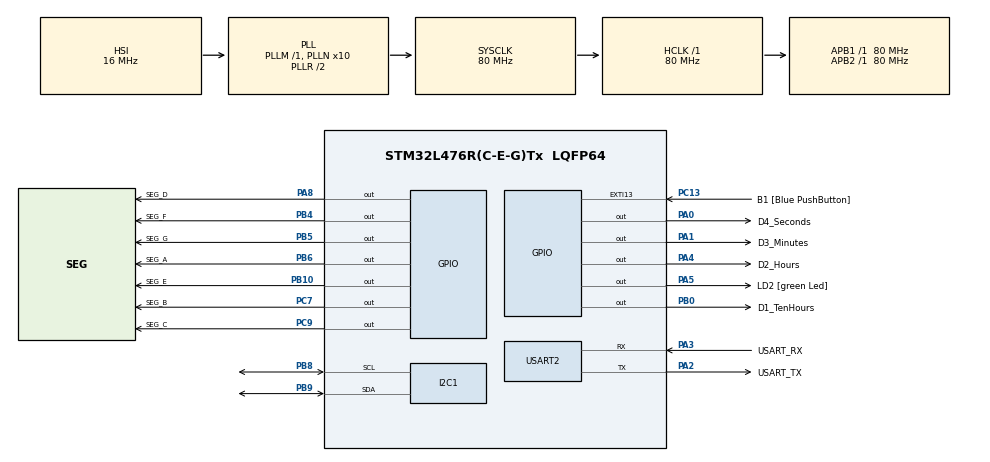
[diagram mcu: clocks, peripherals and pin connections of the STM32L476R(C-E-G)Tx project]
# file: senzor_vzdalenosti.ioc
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I2C1.AddressingMode=I2C_ADDRESSINGMODE_7BIT
I2C1.OwnAddress=0x42
I2C1.Timing=0x10909CEC
Mcu.Family=STM32L4
Mcu.Name=STM32L476R(C-E-G)Tx
Mcu.Package=LQFP64
NVIC.PriorityGroup=NVIC_PRIORITYGROUP_4
PA0.GPIO_Label=D4_Seconds
PA0.Signal=GPIO_Output
PA1.GPIO_Label=D3_Minutes
PA1.Signal=GPIO_Output
PA13\ (JTMS-SWDIO).GPIO_Label=TMS
PA13\ (JTMS-SWDIO).Mode=Serial_Wire
PA13\ (JTMS-SWDIO).Signal=SYS_JTMS-SWDIO
PA14\ (JTCK-SWCLK).GPIO_Label=TCK
PA14\ (JTCK-SWCLK).Mode=Serial_Wire
PA14\ (JTCK-SWCLK).Signal=SYS_JTCK-SWCLK
PA2.GPIO_Label=USART_TX
PA2.GPIO_Mode=GPIO_MODE_AF_PP
PA2.GPIO_PuPd=GPIO_NOPULL
PA2.GPIO_Speed=GPIO_SPEED_FREQ_VERY_HIGH
PA2.Mode=Asynchronous
PA2.Signal=USART2_TX
PA3.GPIO_Label=USART_RX
PA3.GPIO_Mode=GPIO_MODE_AF_PP
PA3.GPIO_PuPd=GPIO_NOPULL
PA3.GPIO_Speed=GPIO_SPEED_FREQ_VERY_HIGH
PA3.Mode=Asynchronous
PA3.Signal=USART2_RX
PA4.GPIO_Label=D2_Hours
PA4.Signal=GPIO_Output
PA5.GPIO_Label=LD2 [green Led]
PA5.GPIO_ModeDefaultOutputPP=GPIO_MODE_OUTPUT_PP
PA5.GPIO_PuPd=GPIO_NOPULL
PA5.GPIO_Speed=GPIO_SPEED_FREQ_LOW
PA5.Signal=GPIO_Output
PA8.GPIO_Label=SEG_D
PA8.Signal=GPIO_Output
PB0.GPIO_Label=D1_TenHours
PB0.Signal=GPIO_Output
PB10.GPIO_Label=SEG_E
PB10.Signal=GPIO_Output
PB3\ (JTDO-TRACESWO).GPIO_Label=SWO
PB3\ (JTDO-TRACESWO).Signal=SYS_JTDO-SWO
PB4\ (NJTRST).GPIO_Label=SEG_F
PB4\ (NJTRST).Signal=GPIO_Output
PB5.GPIO_Label=SEG_G
PB5.Signal=GPIO_Output
PB6.GPIO_Label=SEG_A
PB6.Signal=GPIO_Output
PB8.Mode=I2C
PB8.Signal=I2C1_SCL
PB9.Mode=I2C
PB9.Signal=I2C1_SDA
PC13.GPIO_Label=B1 [Blue PushButton]
PC13.GPIO_ModeDefaultEXTI=GPIO_MODE_IT_FALLING
PC13.GPIO_PuPd=GPIO_NOPULL
PC13.Signal=GPXTI13
PC14-OSC32_IN\ (PC14).Mode=LSE-External-Oscillator
PC14-OSC32_IN\ (PC14).Signal=RCC_OSC32_IN
PC15-OSC32_OUT\ (PC15).Mode=LSE-External-Oscillator
PC15-OSC32_OUT\ (PC15).Signal=RCC_OSC32_OUT
PC7.GPIO_Label=SEG_B
PC7.Signal=GPIO_Output
PC9.GPIO_Label=SEG_C
PC9.Signal=GPIO_Output
PH0-OSC_IN\ (PH0).Signal=RCC_OSC_IN
PH1-OSC_OUT\ (PH1).Signal=RCC_OSC_OUT
ProjectManager.HeapSize=0x200
ProjectManager.StackSize=0x400
ProjectManager.TargetToolchain=STM32CubeIDE
RCC.ADCFreq_Value=64000000
RCC.AHBFreq_Value=80000000
RCC.APB1Freq_Value=80000000
RCC.APB1TimFreq_Value=80000000
RCC.APB2Freq_Value=80000000
RCC.APB2TimFreq_Value=80000000
RCC.CortexFreq_Value=80000000
RCC.HCLKFreq_Value=80000000
RCC.HSE_VALUE=8000000
RCC.HSI_VALUE=16000000
RCC.MSI_VALUE=4000000
RCC.PLLN=10
RCC.PLLSourceVirtual=RCC_PLLSOURCE_HSI
RCC.PREFETCH_ENABLE=1
RCC.SYSCLKFreq_VALUE=80000000
RCC.SYSCLKSource=RCC_SYSCLKSOURCE_PLLCLK
RCC.USBFreq_Value=64000000
RCC.VCOOutputFreq_Value=160000000
USART2.VirtualMode-Asynchronous=VM_ASYNC
board=NUCLEO-L476RG

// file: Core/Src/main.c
/* USER CODE BEGIN Header */
/**
  ******************************************************************************
  * @file           : main.c
  * @brief          : Main program body
  ******************************************************************************
  * @attention
  *
  * Copyright (c) 2022 STMicroelectronics.
  * All rights reserved.
  *
  * This software is licensed under terms that can be found in the LICENSE file
  * in the root directory of this software component.
  * If no LICENSE file comes with this software, it is provided AS-IS.
  *
  ******************************************************************************
  */
/* USER CODE END Header */
#include "main.h"

/* USER CODE BEGIN Includes */
#include "vl6180x_api.h"

/* USER CODE END Includes */

I2C_HandleTypeDef hi2c1;

UART_HandleTypeDef huart2;

/* USER CODE BEGIN PV */
uint8_t EXPANDER_ADRESS = 0x42 << 1;

/* USER CODE END PV */

void SystemClock_Config(void);
static void MX_GPIO_Init(void);
static void MX_USART2_UART_Init(void);
static void MX_I2C1_Init(void);

int main(void)
{

  /* MCU Configuration--------------------------------------------------------*/

  /* Reset of all peripherals, Initializes the Flash interface and the Systick. */
  HAL_Init();

  /* Configure the system clock */
  SystemClock_Config();

  /* Initialize all configured peripherals */
  MX_GPIO_Init();
  MX_USART2_UART_Init();
  MX_I2C1_Init();
  /* USER CODE BEGIN 2 */

  if(HAL_I2C_IsDeviceReady(&hi2c1, EXPANDER_ADRESS, 2, 10) == HAL_OK){
  		HAL_GPIO_WritePin(LD2_GPIO_Port, LD2_Pin, 1);
	  }

 void expander_init(){
	 uint8_t buff[3];
	 buff[0] = 0x14;
	 buff[1] = 0xff;
	 buff[2] = 0xff;

	 HAL_I2C_Master_Transmit(&hi2c1, EXPANDER_ADRESS, buff, 3, 1000);
	 HAL_Delay(100);
 }

 uint8_t numbers[10] = {
		 0x3f, //0
		 0x06,//1
		 0x5B,//2
		 0x4F,//3
		 0x66,//4
		 0x6D,//5
		 0x7D,//6
		 0x07,//7
		 0x7F,//8
		 0x6F,//9
 };

 uint8_t digits[5] = {
		 0x0,
		 0x1,
		 0x2,
		 0x4,
		 0x8
 };
 void expander_WR_counting(uint8_t *numbers, uint8_t *digits){
	 uint8_t buff[3];
	 int digit = 3;
	 while(digit >=1){
	 for (int i = 0; i<=9;i++){

	 	 buff[0] = 0x12;
	 	 buff[1] = (0b0 | ~numbers[i]);
	 	 buff[2] = 0b0 | (~digits[digit]);
	 	 if (i == 9){digit--;}
	 	 HAL_Delay(1000);

	 HAL_I2C_Master_Transmit(&hi2c1, EXPANDER_ADRESS, buff, 3, 5);

	 }}

 }

 void expander_WR_LOW(uint8_t *numbers, uint8_t *digits){
	 uint8_t buff[3];
	   	 int digit = 3;
	   	 	 buff[0] = 0x12;
	   	 	 buff[1] = (0b0 | 0b0);
	   	 	 buff[2] = ~(0b0 | 0b0);

 	 HAL_I2C_Master_Transmit(&hi2c1, EXPANDER_ADRESS, buff, 3, 5);

  }
 void expander_WR(uint8_t *numbers, uint8_t *digits,int number, int dig){
  	 uint8_t buff[3];
  	 int digit = 3;
  	 	 buff[0] = 0x12;
  	 	 buff[1] = (0b0 | ~numbers[number]);
  	 	 buff[2] = 0b0 | (~digits[dig]);

  	 HAL_I2C_Master_Transmit(&hi2c1, EXPANDER_ADRESS, buff, 3, 1);

   }

expander_init();
expander_WR_counting(&numbers, &digits);

  /* USER CODE END 2 */

  /* Infinite loop */
  /* USER CODE BEGIN WHILE */
int digit = 3;
  while (1)
  {

	  	  expander_WR(&numbers, &digits, 1, 1);
		  expander_WR_LOW(&numbers, &digits);

		  expander_WR(&numbers, &digits, 2, 2);
		  expander_WR_LOW(&numbers, &digits);

		  expander_WR(&numbers, &digits, 3, 3);
		  expander_WR_LOW(&numbers, &digits);

	  //HAL_Delay(500);
	  //HAL_GPIO_TogglePin(LD2_GPIO_Port, LD2_Pin);
    /* USER CODE END WHILE */

  }
}

void SystemClock_Config(void)
{
  RCC_OscInitTypeDef RCC_OscInitStruct = {0};
  RCC_ClkInitTypeDef RCC_ClkInitStruct = {0};

  /** Configure the main internal regulator output voltage
  */
  if (HAL_PWREx_ControlVoltageScaling(PWR_REGULATOR_VOLTAGE_SCALE1) != HAL_OK)
  {
    Error_Handler();
  }

  /** Initializes the RCC Oscillators according to the specified parameters
  * in the RCC_OscInitTypeDef structure.
  */
  RCC_OscInitStruct.OscillatorType = RCC_OSCILLATORTYPE_HSI;
  RCC_OscInitStruct.HSIState = RCC_HSI_ON;
  RCC_OscInitStruct.HSICalibrationValue = RCC_HSICALIBRATION_DEFAULT;
  RCC_OscInitStruct.PLL.PLLState = RCC_PLL_ON;
  RCC_OscInitStruct.PLL.PLLSource = RCC_PLLSOURCE_HSI;
  RCC_OscInitStruct.PLL.PLLM = 1;
  RCC_OscInitStruct.PLL.PLLN = 10;
  RCC_OscInitStruct.PLL.PLLP = RCC_PLLP_DIV7;
  RCC_OscInitStruct.PLL.PLLQ = RCC_PLLQ_DIV2;
  RCC_OscInitStruct.PLL.PLLR = RCC_PLLR_DIV2;
  if (HAL_RCC_OscConfig(&RCC_OscInitStruct) != HAL_OK)
  {
    Error_Handler();
  }

  /** Initializes the CPU, AHB and APB buses clocks
  */
  RCC_ClkInitStruct.ClockType = RCC_CLOCKTYPE_HCLK|RCC_CLOCKTYPE_SYSCLK
                              |RCC_CLOCKTYPE_PCLK1|RCC_CLOCKTYPE_PCLK2;
  RCC_ClkInitStruct.SYSCLKSource = RCC_SYSCLKSOURCE_PLLCLK;
  RCC_ClkInitStruct.AHBCLKDivider = RCC_SYSCLK_DIV1;
  RCC_ClkInitStruct.APB1CLKDivider = RCC_HCLK_DIV1;
  RCC_ClkInitStruct.APB2CLKDivider = RCC_HCLK_DIV1;

  if (HAL_RCC_ClockConfig(&RCC_ClkInitStruct, FLASH_LATENCY_4) != HAL_OK)
  {
    Error_Handler();
  }
}

static void MX_I2C1_Init(void)
{

  hi2c1.Instance = I2C1;
  hi2c1.Init.Timing = 0x10909CEC;
  hi2c1.Init.OwnAddress1 = 132;
  hi2c1.Init.AddressingMode = I2C_ADDRESSINGMODE_7BIT;
  hi2c1.Init.DualAddressMode = I2C_DUALADDRESS_DISABLE;
  hi2c1.Init.OwnAddress2 = 0;
  hi2c1.Init.OwnAddress2Masks = I2C_OA2_NOMASK;
  hi2c1.Init.GeneralCallMode = I2C_GENERALCALL_DISABLE;
  hi2c1.Init.NoStretchMode = I2C_NOSTRETCH_DISABLE;
  if (HAL_I2C_Init(&hi2c1) != HAL_OK)
  {
    Error_Handler();
  }

  /** Configure Analogue filter
  */
  if (HAL_I2CEx_ConfigAnalogFilter(&hi2c1, I2C_ANALOGFILTER_ENABLE) != HAL_OK)
  {
    Error_Handler();
  }

  /** Configure Digital filter
  */
  if (HAL_I2CEx_ConfigDigitalFilter(&hi2c1, 0) != HAL_OK)
  {
    Error_Handler();
  }

}

static void MX_USART2_UART_Init(void)
{

  huart2.Instance = USART2;
  huart2.Init.BaudRate = 115200;
  huart2.Init.WordLength = UART_WORDLENGTH_8B;
  huart2.Init.StopBits = UART_STOPBITS_1;
  huart2.Init.Parity = UART_PARITY_NONE;
  huart2.Init.Mode = UART_MODE_TX_RX;
  huart2.Init.HwFlowCtl = UART_HWCONTROL_NONE;
  huart2.Init.OverSampling = UART_OVERSAMPLING_16;
  huart2.Init.OneBitSampling = UART_ONE_BIT_SAMPLE_DISABLE;
  huart2.AdvancedInit.AdvFeatureInit = UART_ADVFEATURE_NO_INIT;
  if (HAL_UART_Init(&huart2) != HAL_OK)
  {
    Error_Handler();
  }

}

static void MX_GPIO_Init(void)
{
  GPIO_InitTypeDef GPIO_InitStruct = {0};

  /* GPIO Ports Clock Enable */
  __HAL_RCC_GPIOC_CLK_ENABLE();
  __HAL_RCC_GPIOH_CLK_ENABLE();
  __HAL_RCC_GPIOA_CLK_ENABLE();
  __HAL_RCC_GPIOB_CLK_ENABLE();

  /*Configure GPIO pin Output Level */
  HAL_GPIO_WritePin(GPIOA, D4_Seconds_Pin|D3_Minutes_Pin|D2_Hours_Pin|LD2_Pin
                          |SEG_D_Pin, GPIO_PIN_RESET);

  /*Configure GPIO pin Output Level */
  HAL_GPIO_WritePin(GPIOB, D1_TenHours_Pin|SEG_E_Pin|SEG_F_Pin|SEG_G_Pin
                          |SEG_A_Pin, GPIO_PIN_RESET);

  /*Configure GPIO pin Output Level */
  HAL_GPIO_WritePin(GPIOC, SEG_B_Pin|SEG_C_Pin, GPIO_PIN_RESET);

  /*Configure GPIO pin : B1_Pin */
  GPIO_InitStruct.Pin = B1_Pin;
  GPIO_InitStruct.Mode = GPIO_MODE_IT_FALLING;
  GPIO_InitStruct.Pull = GPIO_NOPULL;
  HAL_GPIO_Init(B1_GPIO_Port, &GPIO_InitStruct);

  /*Configure GPIO pins : D4_Seconds_Pin D3_Minutes_Pin D2_Hours_Pin LD2_Pin
                           SEG_D_Pin */
  GPIO_InitStruct.Pin = D4_Seconds_Pin|D3_Minutes_Pin|D2_Hours_Pin|LD2_Pin
                          |SEG_D_Pin;
  GPIO_InitStruct.Mode = GPIO_MODE_OUTPUT_PP;
  GPIO_InitStruct.Pull = GPIO_NOPULL;
  GPIO_InitStruct.Speed = GPIO_SPEED_FREQ_LOW;
  HAL_GPIO_Init(GPIOA, &GPIO_InitStruct);

  /*Configure GPIO pins : D1_TenHours_Pin SEG_E_Pin SEG_F_Pin SEG_G_Pin
                           SEG_A_Pin */
  GPIO_InitStruct.Pin = D1_TenHours_Pin|SEG_E_Pin|SEG_F_Pin|SEG_G_Pin
                          |SEG_A_Pin;
  GPIO_InitStruct.Mode = GPIO_MODE_OUTPUT_PP;
  GPIO_InitStruct.Pull = GPIO_NOPULL;
  GPIO_InitStruct.Speed = GPIO_SPEED_FREQ_LOW;
  HAL_GPIO_Init(GPIOB, &GPIO_InitStruct);

  /*Configure GPIO pins : SEG_B_Pin SEG_C_Pin */
  GPIO_InitStruct.Pin = SEG_B_Pin|SEG_C_Pin;
  GPIO_InitStruct.Mode = GPIO_MODE_OUTPUT_PP;
  GPIO_InitStruct.Pull = GPIO_NOPULL;
  GPIO_InitStruct.Speed = GPIO_SPEED_FREQ_LOW;
  HAL_GPIO_Init(GPIOC, &GPIO_InitStruct);

}

void Error_Handler(void)
{
  __disable_irq();
  while (1)
  {
  }
}
